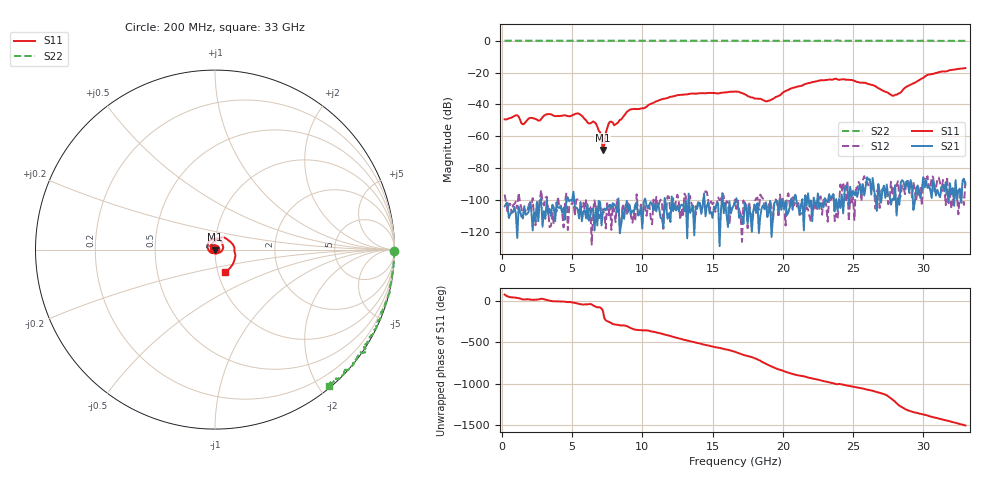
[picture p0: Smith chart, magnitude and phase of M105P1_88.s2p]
# GHZ S RI R 50
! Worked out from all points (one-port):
!   329 points, 200 MHz to 33 GHz, reference 50 ohm
!   lowest |S11| = -68.6 dB at 7.2 GHz (marker M1), VSWR 1.00, Z = 50 - j0.0328 ohm
!   |S11| at or under -10 dB: start of sweep to end of sweep
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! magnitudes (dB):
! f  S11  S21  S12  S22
! 200 MHz  -49.3  -103.9  -96.5  0.0
! 1.1 GHz  -46.8  -123.8  -105.2  0.0
! 1.5 GHz  -52.4  -111.0  -111.6  0.0
! 3.3 GHz  -46.1  -108.9  -106.0  0.0
! 5.7 GHz  -47.1  -113.2  -104.5  0.0
! 6.2 GHz  -51.9  -112.9  -103.9  0.0
! 6.7 GHz  -52.1  -105.0  -105.5  0.0
! 7 GHz  -57.5  -101.2  -102.6  0.0
! 7.2 GHz  -68.6  -107.1  -105.9  0.0
! 7.4 GHz  -58.0  -106.4  -117.8  0.0
! 7.7 GHz  -50.8  -103.0  -102.9  0.0
! 8 GHz  -53.1  -102.6  -106.4  0.0
! 9.1 GHz  -43.4  -102.9  -105.8  0.0
! 11.2 GHz  -37.4  -105.3  -102.0  0.0
! 16.6 GHz  -31.9  -101.9  -99.7  -0.1
! 18.9 GHz  -38.0  -110.7  -106.7  -0.1
! 22.1 GHz  -26.0  -113.2  -106.2  -0.1
! 24.9 GHz  -24.6  -98.2  -102.7  -0.1
! 27.6 GHz  -33.4  -97.1  -100.6  0.0
! 28.2 GHz  -33.4  -98.7  -88.1  0.0
! 30.3 GHz  -21.4  -92.3  -85.0  0.0
! 33 GHz  -17.2  -90.3  -88.3  -0.1
